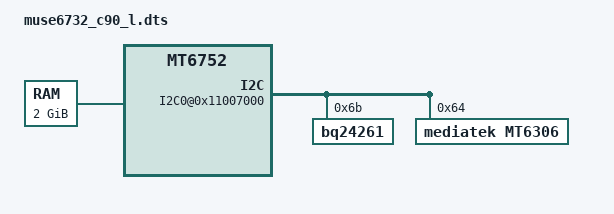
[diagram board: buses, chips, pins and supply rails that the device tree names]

/dts-v1/;

/include/ "mt6752.dtsi"

/ {
	memory@00000000 {
		device_type = "memory";
		reg = <0 0x40000000 0 0x80000000>;
	};

	bus {
		compatible = "simple-bus";
		#address-cells = <1>;
		#size-cells = <1>;
		ranges = <0 0 0 0xffffffff>;

		I2C0@0x11007000 {
			bq24261@6b {
				compatible = "bq24261";
				reg = <0x6b>;
			};

			mt6306@64 {
				compatible = "mediatek,mt6306";
				reg = <0x64>;
			};
		};
		
		MALI@0x13040000 {
			compatible = "arm,malit760", "arm,mali-t76x", "arm,malit7xx", "arm,mali-midgard";
			reg = <0x13040000 0x4000>;
			interrupts = <0 227 0x8>, <0 226 0x8>, <0 225 0x8>;
			interrupt-names = "JOB", "MMU", "GPU";
			clock-frequency = <500000000>;
		};
	};
    TOUCH@0 {
    	compatible = "mediatek,TPD";
		eint-gpio = <139 1>;
		rst-gpio = <144 1>;
		interrupts = <139 2>;
	};
};
